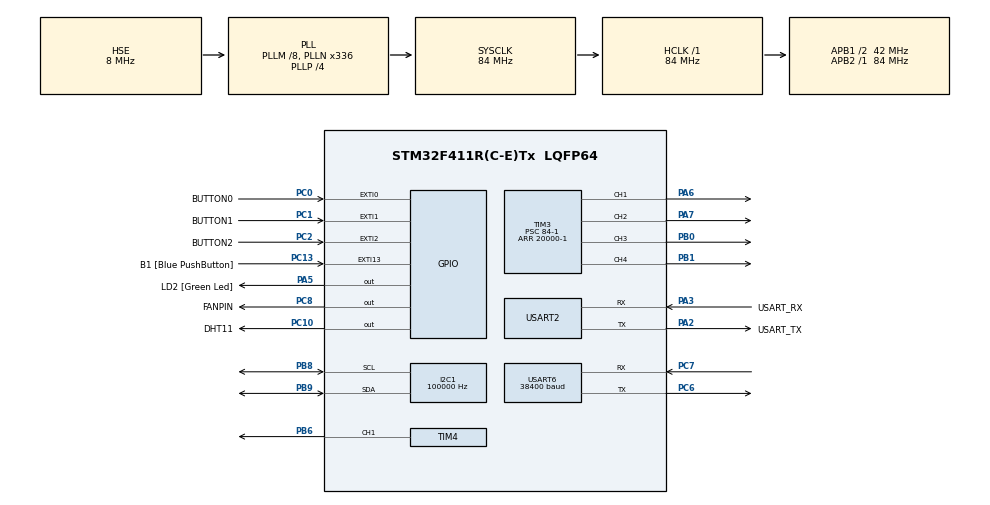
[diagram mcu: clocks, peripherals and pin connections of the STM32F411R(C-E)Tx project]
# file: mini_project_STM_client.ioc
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I2C1.ClockSpeed=100000
Mcu.Family=STM32F4
Mcu.Name=STM32F411R(C-E)Tx
Mcu.Package=LQFP64
NVIC.EXTI0_IRQn=true\:0\:0\:false\:false\:true\:true\:true\:true
NVIC.EXTI15_10_IRQn=true\:0\:0\:false\:false\:true\:true\:true\:true
NVIC.EXTI1_IRQn=true\:0\:0\:false\:false\:true\:true\:true\:true
NVIC.EXTI2_IRQn=true\:0\:0\:false\:false\:true\:true\:true\:true
NVIC.PriorityGroup=NVIC_PRIORITYGROUP_0
NVIC.TIM2_IRQn=true\:0\:0\:false\:false\:true\:true\:true\:true
NVIC.TIM3_IRQn=true\:0\:0\:false\:false\:true\:true\:true\:true
NVIC.USART2_IRQn=true\:0\:0\:false\:false\:true\:true\:true\:true
NVIC.USART6_IRQn=true\:0\:0\:false\:false\:true\:true\:true\:true
PA13.GPIO_Label=TMS
PA13.Mode=Serial_Wire
PA13.Signal=SYS_JTMS-SWDIO
PA14.GPIO_Label=TCK
PA14.Mode=Serial_Wire
PA14.Signal=SYS_JTCK-SWCLK
PA2.GPIO_Label=USART_TX
PA2.Mode=Asynchronous
PA2.Signal=USART2_TX
PA3.GPIO_Label=USART_RX
PA3.Mode=Asynchronous
PA3.Signal=USART2_RX
PA5.GPIO_Label=LD2 [Green Led]
PA5.Signal=GPIO_Output
PA6.Signal=S_TIM3_CH1
PA7.Signal=S_TIM3_CH2
PB0.Signal=S_TIM3_CH3
PB1.Signal=S_TIM3_CH4
PB3.GPIO_Label=SWO
PB3.Signal=SYS_JTDO-SWO
PB6.Signal=S_TIM4_CH1
PB8.Mode=I2C
PB8.Signal=I2C1_SCL
PB9.Mode=I2C
PB9.Signal=I2C1_SDA
PC0.GPIO_Label=BUTTON0
PC0.Signal=GPXTI0
PC1.GPIO_Label=BUTTON1
PC1.Signal=GPXTI1
PC10.GPIO_Label=DHT11
PC10.Signal=GPIO_Output
PC13-ANTI_TAMP.GPIO_Label=B1 [Blue PushButton]
PC13-ANTI_TAMP.GPIO_ModeDefaultEXTI=GPIO_MODE_IT_FALLING
PC13-ANTI_TAMP.Signal=GPXTI13
PC14-OSC32_IN.Signal=RCC_OSC32_IN
PC15-OSC32_OUT.Signal=RCC_OSC32_OUT
PC2.GPIO_Label=BUTTON2
PC2.Signal=GPXTI2
PC6.Mode=Asynchronous
PC6.Signal=USART6_TX
PC7.Mode=Asynchronous
PC7.Signal=USART6_RX
PC8.GPIO_Label=FANPIN
PC8.Signal=GPIO_Output
PH0\ -\ OSC_IN.Mode=HSE-External-Oscillator
PH0\ -\ OSC_IN.Signal=RCC_OSC_IN
PH1\ -\ OSC_OUT.Mode=HSE-External-Oscillator
PH1\ -\ OSC_OUT.Signal=RCC_OSC_OUT
ProjectManager.HeapSize=0x200
ProjectManager.StackSize=0x400
ProjectManager.TargetToolchain=STM32CubeIDE
RCC.48MHZClocksFreq_Value=84000000
RCC.AHBFreq_Value=84000000
RCC.APB1CLKDivider=RCC_HCLK_DIV2
RCC.APB1Freq_Value=42000000
RCC.APB1TimFreq_Value=84000000
RCC.APB2Freq_Value=84000000
RCC.APB2TimFreq_Value=84000000
RCC.CortexFreq_Value=84000000
RCC.FLatency-AdvancedSettings=FLASH_LATENCY_2
RCC.HCLKFreq_Value=84000000
RCC.HSE_VALUE=8000000
RCC.HSI_VALUE=16000000
RCC.LSE_VALUE=32768
RCC.PLLM=8
RCC.PLLN=336
RCC.PLLP=RCC_PLLP_DIV4
RCC.PLLSourceVirtual=RCC_PLLSOURCE_HSE
RCC.SYSCLKFreq_VALUE=84000000
RCC.SYSCLKSource=RCC_SYSCLKSOURCE_PLLCLK
RCC.VCOOutputFreq_Value=336000000
SH.S_TIM3_CH1.0=TIM3_CH1,PWM Generation1 CH1
SH.S_TIM3_CH2.0=TIM3_CH2,PWM Generation2 CH2
SH.S_TIM3_CH3.0=TIM3_CH3,PWM Generation3 CH3
SH.S_TIM3_CH4.0=TIM3_CH4,PWM Generation4 CH4
SH.S_TIM4_CH1.0=TIM4_CH1,PWM Generation1 CH1
TIM2.Period=1000-1
TIM2.Prescaler=84-1
TIM3.AutoReloadPreload=TIM_AUTORELOAD_PRELOAD_ENABLE
TIM3.Channel-PWM\ Generation1\ CH1=TIM_CHANNEL_1
TIM3.Channel-PWM\ Generation2\ CH2=TIM_CHANNEL_2
TIM3.Channel-PWM\ Generation3\ CH3=TIM_CHANNEL_3
TIM3.Channel-PWM\ Generation4\ CH4=TIM_CHANNEL_4
TIM3.Period=20000-1
TIM3.Prescaler=84-1
TIM4.Channel-PWM\ Generation1\ CH1=TIM_CHANNEL_1
TIM4.Period=1000-1
TIM4.Prescaler=84-1
TIM4.Pulse-PWM\ Generation1\ CH1=500
USART2.VirtualMode=VM_ASYNC
USART6.BaudRate=38400
USART6.VirtualMode=VM_ASYNC
VP_TIM2_VS_ClockSourceINT.Mode=Internal
VP_TIM3_VS_ClockSourceINT.Mode=Internal
VP_TIM4_VS_ClockSourceINT.Mode=Internal
board=NUCLEO-F411RE

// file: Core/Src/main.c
/* USER CODE BEGIN Header */
/**
  ******************************************************************************
  * @file           : main.c
  * @brief          : Mini project (Intel Edge Academy 06052025)
  ******************************************************************************
  * @attention
  *
  * Copyright (c) 2024 STMicroelectronics.
  * All rights reserved.
  *
  * This software is licensed under terms that can be found in the LICENSE file
  * in the root directory of this software component.
  * If no LICENSE file comes with this software, it is provided AS-IS.
  *
  ******************************************************************************
  */

/* 개발자 : 		진재우, 황경태
 * 최종 수정일 : 	2025-06-05
 * 프로그램 설명 :	인텔 엣지 SW아카데미 미니 프로젝트 1
 * 					자동 알약 디스펜서 프로그램 STM32F411RE 보드 main.c 함수
 */

/* USER CODE END Header */
#include "main.h"

/* USER CODE BEGIN Includes */
#include <stdio.h>
#include <string.h>
#include <stdlib.h>
#include "esp.h"
#include "dht.h"
#include "clcd.h"
/* USER CODE END Includes */

/* USER CODE BEGIN PD */
#ifdef __GNUC__
#define PUTCHAR_PROTOTYPE int __io_putchar(int ch)
#else
#define PUTCHAR_PROTOTYPE int fputc(int ch, FILE *f)
#endif /* __GNUC__ */
#define ARR_CNT 5
#define CMD_SIZE 50
/* USER CODE END PD */

I2C_HandleTypeDef hi2c1;

TIM_HandleTypeDef htim2;
TIM_HandleTypeDef htim3;
TIM_HandleTypeDef htim4;

UART_HandleTypeDef huart2;
UART_HandleTypeDef huart6;

/* USER CODE BEGIN PV */
uint8_t rx2char;
extern cb_data_t cb_data;
extern volatile unsigned char rx2Flag;
extern volatile char rx2Data[50];
volatile int tim2Flag1Sec=1;
volatile unsigned int tim2Sec;
volatile int keyNo;
volatile int connect_status;
volatile int pillTypeCount;
volatile int pill_doses[5];
volatile char serverMsg[32];
volatile int set_check_1;
volatile int set_check_2;
volatile int motorDone = 1;
volatile int motor_sequence_active = 0;
volatile int current_motor_idx = 0;
volatile int motor_current_step = 0;
volatile uint32_t motor_step_start_time = 0;
int motor_target_repetitions[3] = {0, 0, 0};
int motor_completed_repetitions[3] = {0, 0, 0};
/* USER CODE END PV */

void SystemClock_Config(void);
static void MX_GPIO_Init(void);
static void MX_USART2_UART_Init(void);
static void MX_USART6_UART_Init(void);
static void MX_TIM3_Init(void);
static void MX_I2C1_Init(void);
static void MX_TIM4_Init(void);
static void MX_TIM2_Init(void);
/* USER CODE BEGIN PFP */
char strBuff[MAX_ESP_COMMAND_LEN];
void MX_GPIO_LED_ON(int flag);
void MX_GPIO_LED_OFF(int flag);
void esp_event(char *);
long map(long x, long in_min, long in_max, long out_min, long out_max);
void set_rgb_led(int red, int green, int blue);
void process_motor_sequence(void);
/* USER CODE END PFP */

int main(void)
{

  /* USER CODE BEGIN 1 */
	int ret = 0;
	DHT11_TypeDef dht11Data;
	char buff[30];
	char lcdLine2[17];
	int pulse1 = 500;
	int pulse2 = 500;
	int pulse3 = 500;
  /* USER CODE END 1 */

  /* MCU Configuration--------------------------------------------------------*/

  /* Reset of all peripherals, Initializes the Flash interface and the Systick. */
  HAL_Init();

  /* Configure the system clock */
  SystemClock_Config();

  /* Initialize all configured peripherals */
  MX_GPIO_Init();
  MX_USART2_UART_Init();
  MX_USART6_UART_Init();
  MX_TIM3_Init();
  MX_I2C1_Init();
  MX_TIM4_Init();
  MX_TIM2_Init();
  /* USER CODE BEGIN 2 */
  printf("Start main() - mini project\r\n");
  ret |= drv_uart_init();
  ret |= drv_esp_init();

  if(ret != 0)
  {
	  printf("Esp response error\r\n");
	  Error_Handler();
  }

  AiotClient_Init();

  DHT11_Init();
  LCD_init(&hi2c1);
  LCD_writeStringXY(0, 0, "hello lcd");

  if(HAL_TIM_Base_Start_IT(&htim2) != HAL_OK)
  {
      Error_Handler();
  }

  if(HAL_TIM_PWM_Start(&htim3, TIM_CHANNEL_1) != HAL_OK) { Error_Handler(); }
  if(HAL_TIM_PWM_Start(&htim3, TIM_CHANNEL_2) != HAL_OK) { Error_Handler(); }
  if(HAL_TIM_PWM_Start(&htim3, TIM_CHANNEL_3) != HAL_OK) { Error_Handler(); }
  if(HAL_TIM_PWM_Start(&htim3, TIM_CHANNEL_4) != HAL_OK) { Error_Handler(); }

  __HAL_TIM_SetCompare(&htim3, TIM_CHANNEL_1, (pulse1-1)<0?0:pulse1-1);
  __HAL_TIM_SetCompare(&htim3, TIM_CHANNEL_2, (pulse2-1)<0?0:pulse2-1);
  __HAL_TIM_SetCompare(&htim3, TIM_CHANNEL_3, (pulse3-1)<0?0:pulse3-1);

  /* USER CODE END 2 */

  /* Infinite loop */
  /* USER CODE BEGIN WHILE */
  while (1)
  {
    process_motor_sequence();

    if(!connect_status)
    {
      while(1)
      {
        if(strstr((char *)cb_data.buf,"+IPD") && cb_data.buf[cb_data.length-1] == '\n')
        {
          strcpy(strBuff,strchr((char *)cb_data.buf,'['));
          memset(cb_data.buf,0x0,sizeof(cb_data.buf));
          cb_data.length = 0;
          esp_event(strBuff);
        }
        if(rx2Flag)
        {
          printf("recv2 : %s\r\n",rx2Data);
          rx2Flag = 0;
        }

        if(tim2Flag1Sec)
        {
          tim2Flag1Sec = 0;
          if(!(tim2Sec%10))
          {
            if(esp_get_status() != 0)
            {
              printf("server connecting ...\r\n");
              esp_client_conn();
            }
          }
        }
        if (connect_status == 1)
        {
          break;
        }
      }
    }

    if (!set_check_1)
    {
      while (1)
      {
        LCD_writeStringXY(0, 0, "Enter pill type:");
        if (keyNo == 1) { pillTypeCount++; keyNo = 0; }
        else if (keyNo == 2) { if (pillTypeCount > 0) pillTypeCount--; keyNo = 0; }
        else if (keyNo == 3) {
          keyNo = 0;
          sprintf(serverMsg, "[HKT_LIN]PILLTYPE@%d\r\n", pillTypeCount);
          printf("%s\r\n",serverMsg);
          esp_send_data(serverMsg);
          set_check_1 = 1;
          break;
        }
        sprintf(lcdLine2, "count : %d    ", pillTypeCount);
        LCD_writeStringXY(1, 0, lcdLine2);
      }
    }

    if (!set_check_2)
    {
      for (int i = 0; i < pillTypeCount; i++)
      {
        int count = 0;
        char line1[17], line2[17];
        sprintf(line1, "Pill %d quantity:", i+1);
        while (1)
        {
          LCD_writeStringXY(0, 0, line1);
          sprintf(line2, "count : %d    ", count);
          LCD_writeStringXY(1, 0, line2);
          if (keyNo == 1) { count++; keyNo = 0; }
          else if (keyNo == 2) { if (count > 0) count--; keyNo = 0; }
          else if (keyNo == 3) {
            pill_doses[i] = count;
            keyNo = 0;
            char msg[32];
            sprintf(msg, "[HKT_LIN]PILL%d_DOSE@%d\r\n", i+1, count);
            esp_send_data(msg);
            LCD_writeStringXY(0, 0, "                ");
            LCD_writeStringXY(1, 0, "                ");
            break;
          }
          HAL_Delay(50);
        }
      }
      set_check_2 = 1;
      printf("setend test\r\n");
      esp_send_data("[HKT_LIN]Setend\r\n");
    }

    if(strstr((char *)cb_data.buf,"+IPD") && cb_data.buf[cb_data.length-1] == '\n')
    {
      strcpy(strBuff,strchr((char *)cb_data.buf,'['));
      memset(cb_data.buf,0x0,sizeof(cb_data.buf));
      cb_data.length = 0;
      esp_event(strBuff);
    }
    if(rx2Flag)
    {
      printf("recv2 : %s\r\n",rx2Data);
      rx2Flag = 0;
    }

    if(tim2Flag1Sec)
    {
      tim2Flag1Sec = 0;
      if(!(tim2Sec%10))
      {
        if(esp_get_status() != 0)
        {
           if (!connect_status) {
              printf("server connecting ... (from periodic check)\r\n");
              esp_client_conn();
           }
        }
      }

      if(!(tim2Sec%5) && motorDone)
      {
        dht11Data = DHT11_readData();
        if(dht11Data.rh_byte1 != 255)
        {
          sprintf(buff,"h: %d%% t: %d.%d'C", dht11Data.rh_byte1, dht11Data.temp_byte1, dht11Data.temp_byte2);
          printf("%s\r\n", buff);
          LCD_writeStringXY(0, 0, buff);
          if (dht11Data.temp_byte1 > 30 || dht11Data.rh_byte1 > 70)
          {
        	  LCD_writeStringXY(0, 0, "Temp, Humi     ");
        	  LCD_writeStringXY(1, 0, "Warning !!!     ");
            sprintf(serverMsg, "[HKT_ARD]DHT@%d@%d.%d\r\n", dht11Data.rh_byte1, dht11Data.temp_byte1, dht11Data.temp_byte2);
            esp_send_data(serverMsg);
          }
        }
        else
          printf("DHT11 response error\r\n");
      }
    }
    /* USER CODE END WHILE */

  }
}

void SystemClock_Config(void)
{
  RCC_OscInitTypeDef RCC_OscInitStruct = {0};
  RCC_ClkInitTypeDef RCC_ClkInitStruct = {0};

  /** Configure the main internal regulator output voltage
  */
  __HAL_RCC_PWR_CLK_ENABLE();
  __HAL_PWR_VOLTAGESCALING_CONFIG(PWR_REGULATOR_VOLTAGE_SCALE1);

  /** Initializes the RCC Oscillators according to the specified parameters
  * in the RCC_OscInitTypeDef structure.
  */
  RCC_OscInitStruct.OscillatorType = RCC_OSCILLATORTYPE_HSE;
  RCC_OscInitStruct.HSEState = RCC_HSE_ON;
  RCC_OscInitStruct.PLL.PLLState = RCC_PLL_ON;
  RCC_OscInitStruct.PLL.PLLSource = RCC_PLLSOURCE_HSE;
  RCC_OscInitStruct.PLL.PLLM = 8;
  RCC_OscInitStruct.PLL.PLLN = 336;
  RCC_OscInitStruct.PLL.PLLP = RCC_PLLP_DIV4;
  RCC_OscInitStruct.PLL.PLLQ = 4;
  if (HAL_RCC_OscConfig(&RCC_OscInitStruct) != HAL_OK)
  {
    Error_Handler();
  }

  /** Initializes the CPU, AHB and APB buses clocks
  */
  RCC_ClkInitStruct.ClockType = RCC_CLOCKTYPE_HCLK|RCC_CLOCKTYPE_SYSCLK
                              |RCC_CLOCKTYPE_PCLK1|RCC_CLOCKTYPE_PCLK2;
  RCC_ClkInitStruct.SYSCLKSource = RCC_SYSCLKSOURCE_PLLCLK;
  RCC_ClkInitStruct.AHBCLKDivider = RCC_SYSCLK_DIV1;
  RCC_ClkInitStruct.APB1CLKDivider = RCC_HCLK_DIV2;
  RCC_ClkInitStruct.APB2CLKDivider = RCC_HCLK_DIV1;

  if (HAL_RCC_ClockConfig(&RCC_ClkInitStruct, FLASH_LATENCY_2) != HAL_OK)
  {
    Error_Handler();
  }
}

static void MX_I2C1_Init(void)
{

  hi2c1.Instance = I2C1;
  hi2c1.Init.ClockSpeed = 100000;
  hi2c1.Init.DutyCycle = I2C_DUTYCYCLE_2;
  hi2c1.Init.OwnAddress1 = 0;
  hi2c1.Init.AddressingMode = I2C_ADDRESSINGMODE_7BIT;
  hi2c1.Init.DualAddressMode = I2C_DUALADDRESS_DISABLE;
  hi2c1.Init.OwnAddress2 = 0;
  hi2c1.Init.GeneralCallMode = I2C_GENERALCALL_DISABLE;
  hi2c1.Init.NoStretchMode = I2C_NOSTRETCH_DISABLE;
  if (HAL_I2C_Init(&hi2c1) != HAL_OK)
  {
    Error_Handler();
  }

}

static void MX_TIM2_Init(void)
{

  TIM_ClockConfigTypeDef sClockSourceConfig = {0};
  TIM_MasterConfigTypeDef sMasterConfig = {0};

  htim2.Instance = TIM2;
  htim2.Init.Prescaler = 84-1;
  htim2.Init.CounterMode = TIM_COUNTERMODE_UP;
  htim2.Init.Period = 1000-1;
  htim2.Init.ClockDivision = TIM_CLOCKDIVISION_DIV1;
  htim2.Init.AutoReloadPreload = TIM_AUTORELOAD_PRELOAD_DISABLE;
  if (HAL_TIM_Base_Init(&htim2) != HAL_OK)
  {
    Error_Handler();
  }
  sClockSourceConfig.ClockSource = TIM_CLOCKSOURCE_INTERNAL;
  if (HAL_TIM_ConfigClockSource(&htim2, &sClockSourceConfig) != HAL_OK)
  {
    Error_Handler();
  }
  sMasterConfig.MasterOutputTrigger = TIM_TRGO_RESET;
  sMasterConfig.MasterSlaveMode = TIM_MASTERSLAVEMODE_DISABLE;
  if (HAL_TIMEx_MasterConfigSynchronization(&htim2, &sMasterConfig) != HAL_OK)
  {
    Error_Handler();
  }

}

static void MX_TIM3_Init(void)
{

  TIM_ClockConfigTypeDef sClockSourceConfig = {0};
  TIM_MasterConfigTypeDef sMasterConfig = {0};
  TIM_OC_InitTypeDef sConfigOC = {0};

  htim3.Instance = TIM3;
  htim3.Init.Prescaler = 84-1;
  htim3.Init.CounterMode = TIM_COUNTERMODE_UP;
  htim3.Init.Period = 20000-1;
  htim3.Init.ClockDivision = TIM_CLOCKDIVISION_DIV1;
  htim3.Init.AutoReloadPreload = TIM_AUTORELOAD_PRELOAD_ENABLE;
  if (HAL_TIM_Base_Init(&htim3) != HAL_OK)
  {
    Error_Handler();
  }
  sClockSourceConfig.ClockSource = TIM_CLOCKSOURCE_INTERNAL;
  if (HAL_TIM_ConfigClockSource(&htim3, &sClockSourceConfig) != HAL_OK)
  {
    Error_Handler();
  }
  if (HAL_TIM_PWM_Init(&htim3) != HAL_OK)
  {
    Error_Handler();
  }
  sMasterConfig.MasterOutputTrigger = TIM_TRGO_RESET;
  sMasterConfig.MasterSlaveMode = TIM_MASTERSLAVEMODE_DISABLE;
  if (HAL_TIMEx_MasterConfigSynchronization(&htim3, &sMasterConfig) != HAL_OK)
  {
    Error_Handler();
  }
  sConfigOC.OCMode = TIM_OCMODE_PWM1;
  sConfigOC.Pulse = 0;
  sConfigOC.OCPolarity = TIM_OCPOLARITY_HIGH;
  sConfigOC.OCFastMode = TIM_OCFAST_DISABLE;
  if (HAL_TIM_PWM_ConfigChannel(&htim3, &sConfigOC, TIM_CHANNEL_1) != HAL_OK)
  {
    Error_Handler();
  }
  if (HAL_TIM_PWM_ConfigChannel(&htim3, &sConfigOC, TIM_CHANNEL_2) != HAL_OK)
  {
    Error_Handler();
  }
  if (HAL_TIM_PWM_ConfigChannel(&htim3, &sConfigOC, TIM_CHANNEL_3) != HAL_OK)
  {
    Error_Handler();
  }
  if (HAL_TIM_PWM_ConfigChannel(&htim3, &sConfigOC, TIM_CHANNEL_4) != HAL_OK)
  {
    Error_Handler();
  }
  HAL_TIM_MspPostInit(&htim3);

}

static void MX_TIM4_Init(void)
{

  TIM_ClockConfigTypeDef sClockSourceConfig = {0};
  TIM_MasterConfigTypeDef sMasterConfig = {0};
  TIM_OC_InitTypeDef sConfigOC = {0};

  htim4.Instance = TIM4;
  htim4.Init.Prescaler = 84-1;
  htim4.Init.CounterMode = TIM_COUNTERMODE_UP;
  htim4.Init.Period = 1000-1;
  htim4.Init.ClockDivision = TIM_CLOCKDIVISION_DIV1;
  htim4.Init.AutoReloadPreload = TIM_AUTORELOAD_PRELOAD_DISABLE;
  if (HAL_TIM_Base_Init(&htim4) != HAL_OK)
  {
    Error_Handler();
  }
  sClockSourceConfig.ClockSource = TIM_CLOCKSOURCE_INTERNAL;
  if (HAL_TIM_ConfigClockSource(&htim4, &sClockSourceConfig) != HAL_OK)
  {
    Error_Handler();
  }
  if (HAL_TIM_PWM_Init(&htim4) != HAL_OK)
  {
    Error_Handler();
  }
  sMasterConfig.MasterOutputTrigger = TIM_TRGO_RESET;
  sMasterConfig.MasterSlaveMode = TIM_MASTERSLAVEMODE_DISABLE;
  if (HAL_TIMEx_MasterConfigSynchronization(&htim4, &sMasterConfig) != HAL_OK)
  {
    Error_Handler();
  }
  sConfigOC.OCMode = TIM_OCMODE_PWM1;
  sConfigOC.Pulse = 500;
  sConfigOC.OCPolarity = TIM_OCPOLARITY_HIGH;
  sConfigOC.OCFastMode = TIM_OCFAST_DISABLE;
  if (HAL_TIM_PWM_ConfigChannel(&htim4, &sConfigOC, TIM_CHANNEL_1) != HAL_OK)
  {
    Error_Handler();
  }
  HAL_TIM_MspPostInit(&htim4);

}

static void MX_USART2_UART_Init(void)
{

  huart2.Instance = USART2;
  huart2.Init.BaudRate = 115200;
  huart2.Init.WordLength = UART_WORDLENGTH_8B;
  huart2.Init.StopBits = UART_STOPBITS_1;
  huart2.Init.Parity = UART_PARITY_NONE;
  huart2.Init.Mode = UART_MODE_TX_RX;
  huart2.Init.HwFlowCtl = UART_HWCONTROL_NONE;
  huart2.Init.OverSampling = UART_OVERSAMPLING_16;
  if (HAL_UART_Init(&huart2) != HAL_OK)
  {
    Error_Handler();
  }

}

static void MX_USART6_UART_Init(void)
{

  huart6.Instance = USART6;
  huart6.Init.BaudRate = 38400;
  huart6.Init.WordLength = UART_WORDLENGTH_8B;
  huart6.Init.StopBits = UART_STOPBITS_1;
  huart6.Init.Parity = UART_PARITY_NONE;
  huart6.Init.Mode = UART_MODE_TX_RX;
  huart6.Init.HwFlowCtl = UART_HWCONTROL_NONE;
  huart6.Init.OverSampling = UART_OVERSAMPLING_16;
  if (HAL_UART_Init(&huart6) != HAL_OK)
  {
    Error_Handler();
  }

}

static void MX_GPIO_Init(void)
{
  GPIO_InitTypeDef GPIO_InitStruct = {0};

  /* GPIO Ports Clock Enable */
  __HAL_RCC_GPIOC_CLK_ENABLE();
  __HAL_RCC_GPIOH_CLK_ENABLE();
  __HAL_RCC_GPIOA_CLK_ENABLE();
  __HAL_RCC_GPIOB_CLK_ENABLE();

  /*Configure GPIO pin Output Level */
  HAL_GPIO_WritePin(LD2_GPIO_Port, LD2_Pin, GPIO_PIN_RESET);

  /*Configure GPIO pin Output Level */
  HAL_GPIO_WritePin(GPIOC, FANPIN_Pin|DHT11_Pin, GPIO_PIN_RESET);

  /*Configure GPIO pin : B1_Pin */
  GPIO_InitStruct.Pin = B1_Pin;
  GPIO_InitStruct.Mode = GPIO_MODE_IT_FALLING;
  GPIO_InitStruct.Pull = GPIO_NOPULL;
  HAL_GPIO_Init(B1_GPIO_Port, &GPIO_InitStruct);

  /*Configure GPIO pins : BUTTON0_Pin BUTTON1_Pin BUTTON2_Pin */
  GPIO_InitStruct.Pin = BUTTON0_Pin|BUTTON1_Pin|BUTTON2_Pin;
  GPIO_InitStruct.Mode = GPIO_MODE_IT_RISING;
  GPIO_InitStruct.Pull = GPIO_NOPULL;
  HAL_GPIO_Init(GPIOC, &GPIO_InitStruct);

  /*Configure GPIO pin : LD2_Pin */
  GPIO_InitStruct.Pin = LD2_Pin;
  GPIO_InitStruct.Mode = GPIO_MODE_OUTPUT_PP;
  GPIO_InitStruct.Pull = GPIO_NOPULL;
  GPIO_InitStruct.Speed = GPIO_SPEED_FREQ_LOW;
  HAL_GPIO_Init(LD2_GPIO_Port, &GPIO_InitStruct);

  /*Configure GPIO pins : FANPIN_Pin DHT11_Pin */
  GPIO_InitStruct.Pin = FANPIN_Pin|DHT11_Pin;
  GPIO_InitStruct.Mode = GPIO_MODE_OUTPUT_PP;
  GPIO_InitStruct.Pull = GPIO_NOPULL;
  GPIO_InitStruct.Speed = GPIO_SPEED_FREQ_LOW;
  HAL_GPIO_Init(GPIOC, &GPIO_InitStruct);

  /* EXTI interrupt init*/
  HAL_NVIC_SetPriority(EXTI0_IRQn, 0, 0);
  HAL_NVIC_EnableIRQ(EXTI0_IRQn);

  HAL_NVIC_SetPriority(EXTI1_IRQn, 0, 0);
  HAL_NVIC_EnableIRQ(EXTI1_IRQn);

  HAL_NVIC_SetPriority(EXTI2_IRQn, 0, 0);
  HAL_NVIC_EnableIRQ(EXTI2_IRQn);

  HAL_NVIC_SetPriority(EXTI15_10_IRQn, 0, 0);
  HAL_NVIC_EnableIRQ(EXTI15_10_IRQn);

}

/* USER CODE BEGIN 4 */
void trim(char* str) {
    int len = strlen(str);
    while(len > 0 && (str[len-1] == '\n' || str[len-1] == '\r' || str[len-1] == ' ' || str[len-1] == ']')) {
        str[--len] = 0;
    }
}

void esp_event(char * recvBuf)
{
    int i=0;
    char * pToken;
    char * pArray[ARR_CNT]={0};

    if (strlen(recvBuf) > 0) {
        if (recvBuf[strlen(recvBuf)-1] == '\n' || recvBuf[strlen(recvBuf)-1] == '\r') {
            recvBuf[strlen(recvBuf)-1] = '\0';
        }
    }

    printf("\r\nDebug recv (esp_event): %s\r\n",recvBuf);

    pToken = strtok(recvBuf,"[@]");
    while(pToken != NULL)
    {
        pArray[i] = pToken;
        if(++i >= ARR_CNT) break;
        pToken = strtok(NULL,"[@]");
    }

    if (pArray[1] == NULL) {
        printf("ESP Event: Not enough tokens in message.\r\n");
        return;
    }

    if(!strncmp(pArray[1]," New conn",8))
    {
        connect_status = 1;
        printf("ESP Event: New connection established.\r\n");
        return;
    }
    else if(!strncmp(pArray[1]," Already log",8))
    {
        printf("ESP Event: Already logged in, attempting client connection.\r\n");
        esp_client_conn();
        return;
    }
    else if(!strcmp(pArray[1],"start"))
    {
        printf("Non-blocking motor start command received.\r\n");
        if (pArray[2] && pArray[3] && pArray[4]) {
            motor_target_repetitions[0] = atoi(pArray[2]);
            motor_target_repetitions[1] = atoi(pArray[3]);
            motor_target_repetitions[2] = atoi(pArray[4]);

            printf("Motor targets: M1=%d, M2=%d, M3=%d\r\n", motor_target_repetitions[0], motor_target_repetitions[1], motor_target_repetitions[2]);

            motor_completed_repetitions[0] = 0;
            motor_completed_repetitions[1] = 0;
            motor_completed_repetitions[2] = 0;

            motor_current_step = 0;
            motor_sequence_active = 0;

            for (int k=0; k<3; k++) {
                if (motor_target_repetitions[k] > 0) {
                    current_motor_idx = k;
                    motor_sequence_active = 1;
                    motorDone = 0;
                    printf("Starting sequence with motor %d (target reps: %d)\r\n", current_motor_idx + 1, motor_target_repetitions[k]);
                    break;
                }
            }

            if (!motor_sequence_active) {
                motorDone = 1;
                printf("No motor operations requested.\r\n");
            }
        } else {
            printf("Motor start command: missing parameters.\r\n");
        }
    }

    if(pArray[2]) trim(pArray[2]);

    if(pArray[1] && !strcmp(pArray[1],"FAN"))
    {
        printf("FAN command processing.\n");
        if(pArray[2] && !strcmp(pArray[2],"ON"))
        {
            LCD_writeStringXY(0, 0, "FAN ON !!!!     ");
            LCD_writeStringXY(1, 0, "                ");
            printf("FANON command received.\r\n");
            HAL_GPIO_WritePin(GPIOC, FANPIN_Pin, GPIO_PIN_SET);
            printf("FAN is ON.\r\n");
        }
        else if(pArray[2] && !strcmp(pArray[2],"OFF"))
        {
            LCD_writeStringXY(0, 0, "FAN OFF !!!     ");
            LCD_writeStringXY(1, 0, "                ");
            printf("FANOFF command received.\r\n");
            HAL_GPIO_WritePin(GPIOC, FANPIN_Pin, GPIO_PIN_RESET);
            printf("FAN is OFF.\r\n");
        }
    }
}

void process_motor_sequence(void) {
    if (!motor_sequence_active) {
        return;
    }

    uint32_t current_tick = HAL_GetTick();
    TIM_HandleTypeDef* timer_handle = &htim3;
    uint32_t channel;
    int motor_log_idx = current_motor_idx + 1;

    if (current_motor_idx == 0) channel = TIM_CHANNEL_1;
    else if (current_motor_idx == 1) channel = TIM_CHANNEL_2;
    else if (current_motor_idx == 2) channel = TIM_CHANNEL_3;
    else {
        printf("Error: Invalid current_motor_idx %d\n", current_motor_idx);
        motor_sequence_active = 0;
        motorDone = 1;
        return;
    }

    if (motor_completed_repetitions[current_motor_idx] >= motor_target_repetitions[current_motor_idx]) {
        printf("Motor %d finished all %d repetitions.\r\n", motor_log_idx, motor_target_repetitions[current_motor_idx]);
        __HAL_TIM_SetCompare(timer_handle, channel, 500);

        int next_motor_found = 0;
        for (int i = current_motor_idx + 1; i < 3; i++) {
            if (motor_target_repetitions[i] > 0) {
                current_motor_idx = i;
                motor_current_step = 0;
                printf("Switching to motor %d (target reps: %d).\r\n", current_motor_idx + 1, motor_target_repetitions[i]);
                next_motor_found = 1;
                break;
            }
        }

        if (!next_motor_found) {
            printf("All motor sequences complete.\r\n");
            motor_sequence_active = 0;
            motorDone = 1;
            __HAL_TIM_SetCompare(timer_handle, channel, 500);
            return;
        }
    }

    switch (motor_current_step) {
        case 0:
            printf("Motor %d (Rep %d/%d): Step 0 (PWM 500, start 1s wait)\r\n",
                   motor_log_idx, motor_completed_repetitions[current_motor_idx] + 1, motor_target_repetitions[current_motor_idx]);
            __HAL_TIM_SetCompare(timer_handle, channel, 500);
            motor_step_start_time = current_tick;
            motor_current_step = 1;
            break;

        case 1:
            if (current_tick - motor_step_start_time >= 1000) {
                printf("Motor %d: Step 1 complete (1s wait). Moving to Step 2.\r\n", motor_log_idx);
                motor_current_step = 2;
            }
            break;

        case 2:
            printf("Motor %d: Step 2 (PWM 1500, start 2s wait)\r\n", motor_log_idx);
            __HAL_TIM_SetCompare(timer_handle, channel, 1500);
            motor_step_start_time = current_tick;
            motor_current_step = 3;
            break;

        case 3:
            if (current_tick - motor_step_start_time >= 2000) {
                printf("Motor %d: Step 3 complete (2s wait). Moving to Step 4.\r\n", motor_log_idx);
                motor_current_step = 4;
            }
            break;

        case 4:
            printf("Motor %d: Step 4 (PWM 500, start 1s wait for cycle end)\r\n", motor_log_idx);
            __HAL_TIM_SetCompare(timer_handle, channel, 500);
            motor_step_start_time = current_tick;
            motor_current_step = 5;
            break;

        case 5:
            if (current_tick - motor_step_start_time >= 1000) {
                printf("Motor %d: Step 5 complete (1s wait, one repetition finished).\r\n", motor_log_idx);
                motor_completed_repetitions[current_motor_idx]++;

                if (motor_completed_repetitions[current_motor_idx] < motor_target_repetitions[current_motor_idx]) {
                    motor_current_step = 0;
                    printf("Motor %d: Starting next repetition (%d/%d).\r\n",
                           motor_log_idx, motor_completed_repetitions[current_motor_idx] + 1, motor_target_repetitions[current_motor_idx]);
                } else {
                    printf("Motor %d: All %d repetitions done. Next call will check for next motor/end sequence.\r\n",
                           motor_log_idx, motor_target_repetitions[current_motor_idx]);
                }
            }
            break;
    }
}

void HAL_TIM_PeriodElapsedCallback(TIM_HandleTypeDef *htim)
{
	static int tim2Cnt = 0;
    if (htim->Instance == TIM2)
    {
        tim2Cnt++;
        if(tim2Cnt >= 1000)
        {
            tim2Flag1Sec = 1;
            tim2Sec++;
            tim2Cnt = 0;
        }
    }
}

void HAL_GPIO_EXTI_Callback(uint16_t GPIO_Pin)
{
    static uint32_t last_tick0 = 0, last_tick1 = 0, last_tick2 = 0;
    uint32_t now = HAL_GetTick();

    switch(GPIO_Pin)
    {
        case BUTTON0_Pin:
            if(now - last_tick0 > 200) { keyNo = 3; last_tick0 = now; }
            break;
        case BUTTON1_Pin:
            if(now - last_tick1 > 200) { keyNo = 1; last_tick1 = now; }
            break;
        case BUTTON2_Pin:
            if(now - last_tick2 > 200) { keyNo = 2; last_tick2 = now; }
            break;
    }
}

long map(long x, long in_min, long in_max, long out_min, long out_max) {
  return (x - in_min) * (out_max - out_min) / (in_max - in_min) + out_min;
}

/* USER CODE END 4 */

void Error_Handler(void)
{
  __disable_irq();
  while (1)
  {
  }
}
